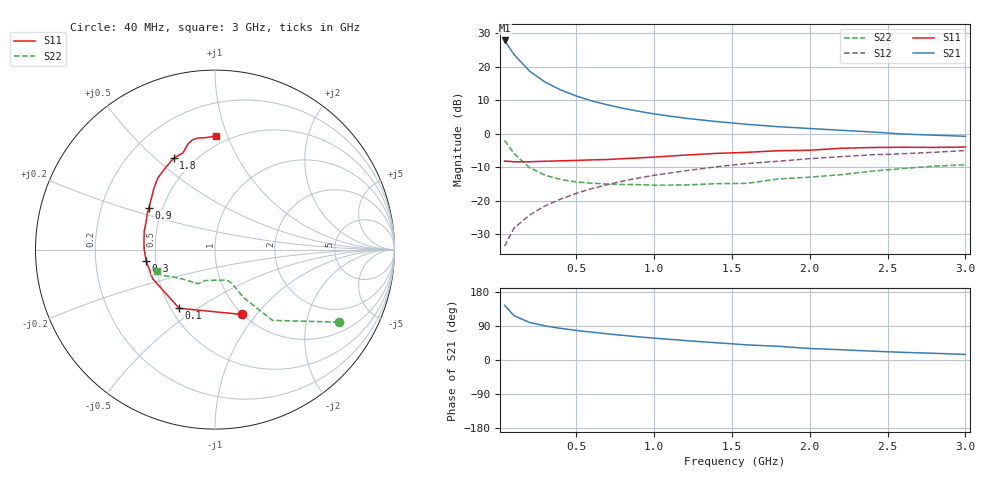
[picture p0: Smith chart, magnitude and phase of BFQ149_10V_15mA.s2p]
! Filename:  BFQ149E.S2P  Version:  2.0
! Philips part #: BFQ149  Date: Aug 1990
! Bias condition: Vce=-10V, Ic=-15mA
#  MHz  S  MA  R  50
! Freq  S11  S21  S12  S22  !GUM [dB]
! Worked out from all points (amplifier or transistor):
!   21 points, 40 MHz to 3 GHz, reference 50 ohm
!   highest |S21| = 27.9 dB at 40 MHz (marker M1)
!   |S21| within 3 dB of that: start of sweep to 83.19 MHz
!   unconditionally stable (mu >= 1): 361.4 MHz to 1.183 GHz
!   at 300 MHz: K = 0.97, MSG = 18.5 dB, |S12| = -21.5 dB
!   at 1 GHz: K = 1.02, MAG = 8.3 dB, |S12| = -12.4 dB
!   at 3 GHz: K = 0.90, MSG = 2.1 dB, |S12| = -5.0 dB
!   S11 on the Smith chart (normalised r, x): 40 MHz: 0.99, -0.85; 100 MHz: 0.55, -0.42; 300 MHz: 0.44, -0.07; 900 MHz: 0.42, +0.24; 1.8 GHz: 0.39, +0.57; 3 GHz: 0.43, +0.91
40  0.391 -67.5  24.75 144.4  0.021 70.9  0.799 -30.4
100  0.383 -121.4  15.31 117.0  0.039 63.5  0.508 -50.9
200  0.383 -154.7  8.617 99.2  0.061 65.9  0.312 -59.2
300  0.389 -170.7  5.923 90.0  0.084 68.5  0.241 -61.7
400  0.395 179.3  4.52 83.4  0.106 69.2  0.208 -64.0
500  0.4 171.4  3.671 78.1  0.129 69.6  0.191 -66.5
600  0.408 164.8  3.1 73.4  0.152 69.5  0.183 -69.3
700  0.413 158.6  2.708 69.1  0.174 68.8  0.178 -72.6
800  0.425 153.0  2.404 65.0  0.197 67.9  0.175 -76.1
900  0.436 147.5  2.172 61.2  0.219 66.9  0.174 -80.2
1000  0.449 142.9  1.981 57.7  0.24 65.8  0.171 -84.8
1200  0.481 135.1  1.709 51.3  0.28 63.7  0.172 -95.7
1400  0.51 128.8  1.524 45.5  0.321 61.6  0.18 -106.9
1600  0.529 122.3  1.382 39.8  0.36 58.2  0.182 -108.2
1800  0.559 114.4  1.276 36.1  0.39 56.4  0.212 -116.3
2000  0.568 108.3  1.199 30.3  0.425 53.9  0.225 -128.4
2200  0.608 104.3  1.129 27.1  0.456 52.1  0.245 -138.0
2400  0.624 101.6  1.065 23.4  0.486 49.8  0.277 -146.5
2600  0.629 98.8  0.992 20.2  0.504 47.2  0.303 -150.8
2800  0.626 94.1  0.954 17.7  0.53 45.4  0.329 -154.3
3000  0.634 89.5  0.918 14.6  0.561 42.8  0.345 -159.8
